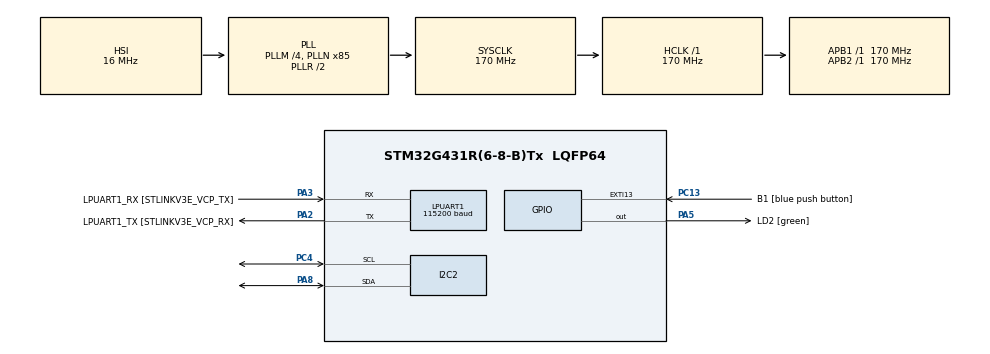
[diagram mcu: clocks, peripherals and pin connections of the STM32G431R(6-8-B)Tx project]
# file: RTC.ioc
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I2C2.Timing=0x30A0A7FB
LPUART1.BaudRate=115200
LPUART1.WordLength=UART_WORDLENGTH_8B
Mcu.Family=STM32G4
Mcu.Name=STM32G431R(6-8-B)Tx
Mcu.Package=LQFP64
NVIC.PriorityGroup=NVIC_PRIORITYGROUP_4
PA13.GPIO_Label=T_SWDIO
PA13.Mode=Serial_Wire
PA13.Signal=SYS_JTMS-SWDIO
PA14.GPIO_Label=T_SWCLK
PA14.Mode=Serial_Wire
PA14.Signal=SYS_JTCK-SWCLK
PA2.GPIO_Label=LPUART1_TX [STLINKV3E_VCP_RX]
PA2.Mode=Asynchronous
PA2.Signal=LPUART1_TX
PA3.GPIO_Label=LPUART1_RX [STLINKV3E_VCP_TX]
PA3.Mode=Asynchronous
PA3.Signal=LPUART1_RX
PA5.GPIO_Label=LD2 [green]
PA5.Signal=GPIO_Output
PA8.Mode=I2C
PA8.Signal=I2C2_SDA
PB3.GPIO_Label=T_SWO
PB3.Signal=SYS_JTDO-SWO
PC13.GPIO_Label=B1 [blue push button]
PC13.Signal=GPXTI13
PC14-OSC32_IN.Mode=LSE-External-Oscillator
PC14-OSC32_IN.Signal=RCC_OSC32_IN
PC15-OSC32_OUT.Mode=LSE-External-Oscillator
PC15-OSC32_OUT.Signal=RCC_OSC32_OUT
PC4.Mode=I2C
PC4.Signal=I2C2_SCL
PF0-OSC_IN.Mode=HSE-External-Oscillator
PF0-OSC_IN.Signal=RCC_OSC_IN
PF1-OSC_OUT.Mode=HSE-External-Oscillator
PF1-OSC_OUT.Signal=RCC_OSC_OUT
ProjectManager.HeapSize=0x200
ProjectManager.StackSize=0x400
ProjectManager.TargetToolchain=STM32CubeIDE
RCC.ADC12Freq_Value=170000000
RCC.AHBFreq_Value=170000000
RCC.APB1Freq_Value=170000000
RCC.APB1TimFreq_Value=170000000
RCC.APB2Freq_Value=170000000
RCC.APB2TimFreq_Value=170000000
RCC.CortexFreq_Value=170000000
RCC.EXTERNAL_CLOCK_VALUE=12288000
RCC.HCLKFreq_Value=170000000
RCC.HSE_VALUE=24000000
RCC.HSI48_VALUE=48000000
RCC.HSI_VALUE=16000000
RCC.PLLM=RCC_PLLM_DIV4
RCC.PLLN=85
RCC.RTCClockSelection=RCC_RTCCLKSOURCE_LSE
RCC.SYSCLKFreq_VALUE=170000000
RCC.SYSCLKSource=RCC_SYSCLKSOURCE_PLLCLK
RCC.USBFreq_Value=170000000
RCC.VCOOutputFreq_Value=340000000
RTC.Date=1
RTC.Hours=11
RTC.Minutes=53
RTC.Month=RTC_MONTH_JULY
RTC.Seconds=30
RTC.WeekDay=RTC_WEEKDAY_MONDAY
VP_RTC_VS_RTC_Activate.Mode=RTC_Enabled
VP_RTC_VS_RTC_Calendar.Mode=RTC_Calendar
VP_SYS_VS_DBSignals.Mode=DisableDeadBatterySignals
board=NUCLEO-G431RB

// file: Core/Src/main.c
#include "main.h"

I2C_HandleTypeDef hi2c2;

UART_HandleTypeDef hlpuart1;

RTC_HandleTypeDef hrtc;

/* USER CODE BEGIN PV */
char time[10];
char date[10];
uint8_t alarm =0;
/* USER CODE END PV */

void SystemClock_Config(void);
static void MX_GPIO_Init(void);
static void MX_LPUART1_UART_Init(void);
static void MX_I2C2_Init(void);
static void MX_RTC_Init(void);

/* USER CODE BEGIN 0 */
void set_time (void)
{
	  RTC_TimeTypeDef sTime;
	  RTC_DateTypeDef sDate;
    /**Initialize RTC and set the Time and Date
    */
  sTime.Hours = 0x10;
  sTime.Minutes = 0x20;
  sTime.Seconds = 0x30;
  sTime.DayLightSaving = RTC_DAYLIGHTSAVING_NONE;
  sTime.StoreOperation = RTC_STOREOPERATION_RESET;
  if (HAL_RTC_SetTime(&hrtc, &sTime, RTC_FORMAT_BCD) != HAL_OK)
  {
    Error_Handler();
  }
  /* USER CODE BEGIN RTC_Init 3 */

  /* USER CODE END RTC_Init 3 */

  sDate.WeekDay = RTC_WEEKDAY_TUESDAY;
  sDate.Month = RTC_MONTH_AUGUST;
  sDate.Date = 0x12;
  sDate.Year = 0x7E8;

  if (HAL_RTC_SetDate(&hrtc, &sDate, RTC_FORMAT_BCD) != HAL_OK)
  {
    Error_Handler();
  }
  /* USER CODE BEGIN RTC_Init 4 */

  HAL_RTCEx_BKUPWrite(&hrtc, RTC_BKP_DR1, 0x32F2);  // backup register

  /* USER CODE END RTC_Init 4 */
}

void get_time(void)
{
  RTC_DateTypeDef gDate;
  RTC_TimeTypeDef gTime;

  /* Get the RTC current Time */
  HAL_RTC_GetTime(&hrtc, &gTime, RTC_FORMAT_BIN);
  /* Get the RTC current Date */
  HAL_RTC_GetDate(&hrtc, &gDate, RTC_FORMAT_BIN);

  /* Display time Format: hh:mm:ss */
  sprintf((char*)time,"%02d:%02d:%02d",gTime.Hours, gTime.Minutes, gTime.Seconds);

  /* Display date Format: mm-dd-yy */
  sprintf((char*)date,"%02d-%02d-%2d",gDate.Date, gDate.Month, 2024 + gDate.Year);  // I like the date first
  }

//Let's display the time and date on lcd

void display_time (void)
{
	lcd_send_cmd (0x80);
	lcd_send_string (time);
	lcd_send_cmd (0xc0);
	lcd_send_string (date);
}

/* USER CODE END 0 */

int main(void)
{

  /* MCU Configuration--------------------------------------------------------*/

  /* Reset of all peripherals, Initializes the Flash interface and the Systick. */
  HAL_Init();

  /* Configure the system clock */
  SystemClock_Config();

  /* Initialize all configured peripherals */
  MX_GPIO_Init();
  MX_LPUART1_UART_Init();
  MX_I2C2_Init();
  MX_RTC_Init();
  /* USER CODE BEGIN 2 */
  lcd_init ();

    if(HAL_RTCEx_BKUPRead(&hrtc, RTC_BKP_DR1) != 0x32F2)
        {
        //   Set the time
          set_time();
        }

  /* USER CODE END 2 */

  /* Infinite loop */
    while (1)
      {

    /* USER CODE BEGIN 3 */

    	  get_time();
    	  display_time();
    	  HAL_Delay(500);

      }
  /* USER CODE END 3 */
}

void SystemClock_Config(void)
{
  RCC_OscInitTypeDef RCC_OscInitStruct = {0};
  RCC_ClkInitTypeDef RCC_ClkInitStruct = {0};

  /** Configure the main internal regulator output voltage
  */
  HAL_PWREx_ControlVoltageScaling(PWR_REGULATOR_VOLTAGE_SCALE1_BOOST);

  /** Configure LSE Drive Capability
  */
  HAL_PWR_EnableBkUpAccess();
  __HAL_RCC_LSEDRIVE_CONFIG(RCC_LSEDRIVE_LOW);

  /** Initializes the RCC Oscillators according to the specified parameters
  * in the RCC_OscInitTypeDef structure.
  */
  RCC_OscInitStruct.OscillatorType = RCC_OSCILLATORTYPE_HSI|RCC_OSCILLATORTYPE_LSE;
  RCC_OscInitStruct.LSEState = RCC_LSE_ON;
  RCC_OscInitStruct.HSIState = RCC_HSI_ON;
  RCC_OscInitStruct.HSICalibrationValue = RCC_HSICALIBRATION_DEFAULT;
  RCC_OscInitStruct.PLL.PLLState = RCC_PLL_ON;
  RCC_OscInitStruct.PLL.PLLSource = RCC_PLLSOURCE_HSI;
  RCC_OscInitStruct.PLL.PLLM = RCC_PLLM_DIV4;
  RCC_OscInitStruct.PLL.PLLN = 85;
  RCC_OscInitStruct.PLL.PLLP = RCC_PLLP_DIV2;
  RCC_OscInitStruct.PLL.PLLQ = RCC_PLLQ_DIV2;
  RCC_OscInitStruct.PLL.PLLR = RCC_PLLR_DIV2;
  if (HAL_RCC_OscConfig(&RCC_OscInitStruct) != HAL_OK)
  {
    Error_Handler();
  }

  /** Initializes the CPU, AHB and APB buses clocks
  */
  RCC_ClkInitStruct.ClockType = RCC_CLOCKTYPE_HCLK|RCC_CLOCKTYPE_SYSCLK
                              |RCC_CLOCKTYPE_PCLK1|RCC_CLOCKTYPE_PCLK2;
  RCC_ClkInitStruct.SYSCLKSource = RCC_SYSCLKSOURCE_PLLCLK;
  RCC_ClkInitStruct.AHBCLKDivider = RCC_SYSCLK_DIV1;
  RCC_ClkInitStruct.APB1CLKDivider = RCC_HCLK_DIV1;
  RCC_ClkInitStruct.APB2CLKDivider = RCC_HCLK_DIV1;

  if (HAL_RCC_ClockConfig(&RCC_ClkInitStruct, FLASH_LATENCY_4) != HAL_OK)
  {
    Error_Handler();
  }
}

static void MX_I2C2_Init(void)
{

  hi2c2.Instance = I2C2;
  hi2c2.Init.Timing = 0x30A0A7FB;
  hi2c2.Init.OwnAddress1 = 0;
  hi2c2.Init.AddressingMode = I2C_ADDRESSINGMODE_7BIT;
  hi2c2.Init.DualAddressMode = I2C_DUALADDRESS_DISABLE;
  hi2c2.Init.OwnAddress2 = 0;
  hi2c2.Init.OwnAddress2Masks = I2C_OA2_NOMASK;
  hi2c2.Init.GeneralCallMode = I2C_GENERALCALL_DISABLE;
  hi2c2.Init.NoStretchMode = I2C_NOSTRETCH_DISABLE;
  if (HAL_I2C_Init(&hi2c2) != HAL_OK)
  {
    Error_Handler();
  }

  /** Configure Analogue filter
  */
  if (HAL_I2CEx_ConfigAnalogFilter(&hi2c2, I2C_ANALOGFILTER_ENABLE) != HAL_OK)
  {
    Error_Handler();
  }

  /** Configure Digital filter
  */
  if (HAL_I2CEx_ConfigDigitalFilter(&hi2c2, 0) != HAL_OK)
  {
    Error_Handler();
  }

}

static void MX_LPUART1_UART_Init(void)
{

  hlpuart1.Instance = LPUART1;
  hlpuart1.Init.BaudRate = 115200;
  hlpuart1.Init.WordLength = UART_WORDLENGTH_8B;
  hlpuart1.Init.StopBits = UART_STOPBITS_1;
  hlpuart1.Init.Parity = UART_PARITY_NONE;
  hlpuart1.Init.Mode = UART_MODE_TX_RX;
  hlpuart1.Init.HwFlowCtl = UART_HWCONTROL_NONE;
  hlpuart1.Init.OneBitSampling = UART_ONE_BIT_SAMPLE_DISABLE;
  hlpuart1.Init.ClockPrescaler = UART_PRESCALER_DIV1;
  hlpuart1.AdvancedInit.AdvFeatureInit = UART_ADVFEATURE_NO_INIT;
  if (HAL_UART_Init(&hlpuart1) != HAL_OK)
  {
    Error_Handler();
  }
  if (HAL_UARTEx_SetTxFifoThreshold(&hlpuart1, UART_TXFIFO_THRESHOLD_1_8) != HAL_OK)
  {
    Error_Handler();
  }
  if (HAL_UARTEx_SetRxFifoThreshold(&hlpuart1, UART_RXFIFO_THRESHOLD_1_8) != HAL_OK)
  {
    Error_Handler();
  }
  if (HAL_UARTEx_DisableFifoMode(&hlpuart1) != HAL_OK)
  {
    Error_Handler();
  }

}

static void MX_RTC_Init(void)
{

  RTC_TimeTypeDef sTime = {0};
  RTC_DateTypeDef sDate = {0};

  /** Initialize RTC Only
  */
  hrtc.Instance = RTC;
  hrtc.Init.HourFormat = RTC_HOURFORMAT_24;
  hrtc.Init.AsynchPrediv = 127;
  hrtc.Init.SynchPrediv = 255;
  hrtc.Init.OutPut = RTC_OUTPUT_DISABLE;
  hrtc.Init.OutPutRemap = RTC_OUTPUT_REMAP_NONE;
  hrtc.Init.OutPutPolarity = RTC_OUTPUT_POLARITY_HIGH;
  hrtc.Init.OutPutType = RTC_OUTPUT_TYPE_OPENDRAIN;
  hrtc.Init.OutPutPullUp = RTC_OUTPUT_PULLUP_NONE;
  if (HAL_RTC_Init(&hrtc) != HAL_OK)
  {
    Error_Handler();
  }

  /** Initialize RTC and set the Time and Date
  */
  sTime.Hours = 0x11;
  sTime.Minutes = 0x53;
  sTime.Seconds = 0x30;
  sTime.SubSeconds = 0x0;
  sTime.DayLightSaving = RTC_DAYLIGHTSAVING_NONE;
  sTime.StoreOperation = RTC_STOREOPERATION_RESET;
  if (HAL_RTC_SetTime(&hrtc, &sTime, RTC_FORMAT_BCD) != HAL_OK)
  {
    Error_Handler();
  }
  sDate.WeekDay = RTC_WEEKDAY_MONDAY;
  sDate.Month = RTC_MONTH_JULY;
  sDate.Date = 0x1;
  sDate.Year = 0x0;

  if (HAL_RTC_SetDate(&hrtc, &sDate, RTC_FORMAT_BCD) != HAL_OK)
  {
    Error_Handler();
  }

}

static void MX_GPIO_Init(void)
{
  GPIO_InitTypeDef GPIO_InitStruct = {0};

  /* GPIO Ports Clock Enable */
  __HAL_RCC_GPIOC_CLK_ENABLE();
  __HAL_RCC_GPIOF_CLK_ENABLE();
  __HAL_RCC_GPIOA_CLK_ENABLE();
  __HAL_RCC_GPIOB_CLK_ENABLE();

  /*Configure GPIO pin Output Level */
  HAL_GPIO_WritePin(LD2_GPIO_Port, LD2_Pin, GPIO_PIN_RESET);

  /*Configure GPIO pin : B1_Pin */
  GPIO_InitStruct.Pin = B1_Pin;
  GPIO_InitStruct.Mode = GPIO_MODE_IT_RISING;
  GPIO_InitStruct.Pull = GPIO_NOPULL;
  HAL_GPIO_Init(B1_GPIO_Port, &GPIO_InitStruct);

  /*Configure GPIO pin : LD2_Pin */
  GPIO_InitStruct.Pin = LD2_Pin;
  GPIO_InitStruct.Mode = GPIO_MODE_OUTPUT_PP;
  GPIO_InitStruct.Pull = GPIO_NOPULL;
  GPIO_InitStruct.Speed = GPIO_SPEED_FREQ_LOW;
  HAL_GPIO_Init(LD2_GPIO_Port, &GPIO_InitStruct);

}

void Error_Handler(void)
{
  __disable_irq();
  while (1)
  {
  }
}
